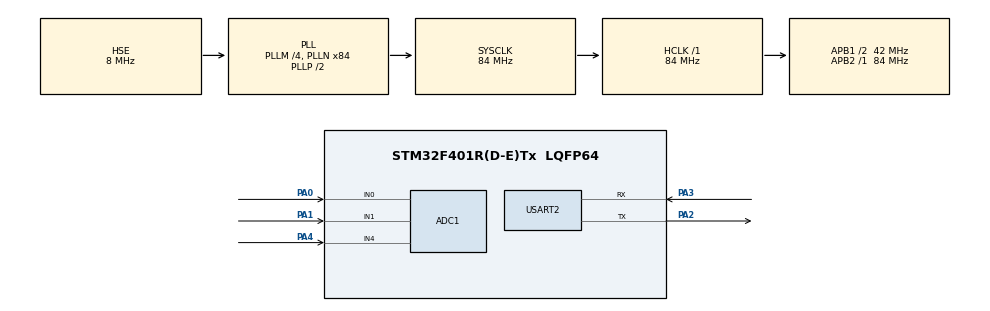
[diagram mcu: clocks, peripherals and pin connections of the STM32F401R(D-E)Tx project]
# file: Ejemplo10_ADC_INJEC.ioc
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ADC1.Channel-0\#ChannelRegularConversion=ADC_CHANNEL_0
ADC1.Channel-1\#ChannelInjectedConversion=ADC_CHANNEL_0
ADC1.Channel-2\#ChannelInjectedConversion=ADC_CHANNEL_1
ADC1.Channel-3\#ChannelInjectedConversion=ADC_CHANNEL_4
ADC1.InjNumberOfConversion=3
ADC1.InjectedOffset-1\#ChannelInjectedConversion=0
ADC1.InjectedOffset-2\#ChannelInjectedConversion=0
ADC1.InjectedOffset-3\#ChannelInjectedConversion=0
ADC1.InjectedRank-1\#ChannelInjectedConversion=1
ADC1.InjectedRank-2\#ChannelInjectedConversion=2
ADC1.InjectedRank-3\#ChannelInjectedConversion=3
ADC1.NbrOfConversionFlag=1
ADC1.Rank-0\#ChannelRegularConversion=1
ADC1.SamplingTime-0\#ChannelRegularConversion=ADC_SAMPLETIME_3CYCLES
ADC1.SamplingTime-1\#ChannelInjectedConversion=ADC_SAMPLETIME_3CYCLES
ADC1.SamplingTime-2\#ChannelInjectedConversion=ADC_SAMPLETIME_3CYCLES
ADC1.SamplingTime-3\#ChannelInjectedConversion=ADC_SAMPLETIME_3CYCLES
ADC1.master=1
Mcu.Family=STM32F4
Mcu.Name=STM32F401R(D-E)Tx
Mcu.Package=LQFP64
NVIC.ADC_IRQn=true\:0\:0\:false\:false\:true\:true\:true\:true
NVIC.PriorityGroup=NVIC_PRIORITYGROUP_4
PA0-WKUP.Signal=ADCx_IN0
PA1.Signal=ADCx_IN1
PA13.Mode=Serial_Wire
PA13.Signal=SYS_JTMS-SWDIO
PA14.Mode=Serial_Wire
PA14.Signal=SYS_JTCK-SWCLK
PA2.Mode=Asynchronous
PA2.Signal=USART2_TX
PA3.Mode=Asynchronous
PA3.Signal=USART2_RX
PA4.Signal=ADCx_IN4
PH0\ -\ OSC_IN.Mode=HSE-External-Clock-Source
PH0\ -\ OSC_IN.Signal=RCC_OSC_IN
PH1\ -\ OSC_OUT.Mode=HSE-External-Clock-Source
PH1\ -\ OSC_OUT.Signal=RCC_OSC_OUT
ProjectManager.HeapSize=0x200
ProjectManager.StackSize=0x400
ProjectManager.TargetToolchain=STM32CubeIDE
RCC.48MHZClocksFreq_Value=42000000
RCC.AHBFreq_Value=84000000
RCC.APB1CLKDivider=RCC_HCLK_DIV2
RCC.APB1Freq_Value=42000000
RCC.APB1TimFreq_Value=84000000
RCC.APB2Freq_Value=84000000
RCC.APB2TimFreq_Value=84000000
RCC.CortexFreq_Value=84000000
RCC.HCLKFreq_Value=84000000
RCC.HSE_VALUE=8000000
RCC.HSI_VALUE=16000000
RCC.LSE_VALUE=32768
RCC.PLLM=4
RCC.PLLN=84
RCC.PLLSourceVirtual=RCC_PLLSOURCE_HSE
RCC.SYSCLKFreq_VALUE=84000000
RCC.SYSCLKSource=RCC_SYSCLKSOURCE_PLLCLK
RCC.VCOOutputFreq_Value=168000000
SH.ADCx_IN0.0=ADC1_IN0,IN0
SH.ADCx_IN1.0=ADC1_IN1,IN1
SH.ADCx_IN4.0=ADC1_IN4,IN4
USART2.VirtualMode=VM_ASYNC
board=custom

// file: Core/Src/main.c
/* USER CODE BEGIN Header */
/**
  ******************************************************************************
  * @file           : main.c
  * @brief          : Main program body
  ******************************************************************************
  * @attention
  *
  * Copyright (c) 2023 STMicroelectronics.
  * All rights reserved.
  *
  * This software is licensed under terms that can be found in the LICENSE file
  * in the root directory of this software component.
  * If no LICENSE file comes with this software, it is provided AS-IS.
  *
  ******************************************************************************
  */
/* USER CODE END Header */
#include "main.h"

/* USER CODE BEGIN Includes */
#include "stdio.h"
#include "string.h"
/* USER CODE END Includes */

ADC_HandleTypeDef hadc1;

UART_HandleTypeDef huart2;

void SystemClock_Config(void);
static void MX_GPIO_Init(void);
static void MX_ADC1_Init(void);
static void MX_USART2_UART_Init(void);

/* USER CODE BEGIN 0 */
int __io_putchar(int ch){

	  HAL_UART_Transmit(&huart2, (const uint8_t *)&ch, (uint16_t)1, HAL_MAX_DELAY);

	  return ch;
}
uint32_t AnalogRead(uint32_t channel){

	   uint32_t ADC_VALUE;

	  ADC_ChannelConfTypeDef sConfig = {0};

	    sConfig.Channel = channel;
	    sConfig.Rank = 1;
	    sConfig.SamplingTime = ADC_SAMPLETIME_3CYCLES;
	    if (HAL_ADC_ConfigChannel(&hadc1, &sConfig) != HAL_OK)
	    {
	      Error_Handler();
	    }
	    HAL_ADC_Start(&hadc1);
	    if(HAL_ADC_PollForConversion(&hadc1, 1000000)==HAL_OK){

	    	ADC_VALUE = HAL_ADC_GetValue(&hadc1);
	    }
	    HAL_ADC_Stop(&hadc1);
	    return ADC_VALUE;
}
uint16_t adc[3];
/* USER CODE END 0 */

int main(void)
{

  /* MCU Configuration--------------------------------------------------------*/

  /* Reset of all peripherals, Initializes the Flash interface and the Systick. */
  HAL_Init();

  /* Configure the system clock */
  SystemClock_Config();

  /* Initialize all configured peripherals */
  MX_GPIO_Init();
  MX_ADC1_Init();
  MX_USART2_UART_Init();
  /* USER CODE BEGIN 2 */
  HAL_ADCEx_InjectedStart_IT(&hadc1);
  /* USER CODE END 2 */

  /* Infinite loop */
  /* USER CODE BEGIN WHILE */
  while (1)
  {
		 printf("ADC0->%u   ADC1->%u   ADC4->%u   \n\r",adc[0],adc[1],adc[2]);
		 HAL_Delay(500);
    /* USER CODE END WHILE */

  }
}

void SystemClock_Config(void)
{
  RCC_OscInitTypeDef RCC_OscInitStruct = {0};
  RCC_ClkInitTypeDef RCC_ClkInitStruct = {0};

  /** Configure the main internal regulator output voltage
  */
  __HAL_RCC_PWR_CLK_ENABLE();
  __HAL_PWR_VOLTAGESCALING_CONFIG(PWR_REGULATOR_VOLTAGE_SCALE2);

  /** Initializes the RCC Oscillators according to the specified parameters
  * in the RCC_OscInitTypeDef structure.
  */
  RCC_OscInitStruct.OscillatorType = RCC_OSCILLATORTYPE_HSE;
  RCC_OscInitStruct.HSEState = RCC_HSE_BYPASS;
  RCC_OscInitStruct.PLL.PLLState = RCC_PLL_ON;
  RCC_OscInitStruct.PLL.PLLSource = RCC_PLLSOURCE_HSE;
  RCC_OscInitStruct.PLL.PLLM = 4;
  RCC_OscInitStruct.PLL.PLLN = 84;
  RCC_OscInitStruct.PLL.PLLP = RCC_PLLP_DIV2;
  RCC_OscInitStruct.PLL.PLLQ = 4;
  if (HAL_RCC_OscConfig(&RCC_OscInitStruct) != HAL_OK)
  {
    Error_Handler();
  }

  /** Initializes the CPU, AHB and APB buses clocks
  */
  RCC_ClkInitStruct.ClockType = RCC_CLOCKTYPE_HCLK|RCC_CLOCKTYPE_SYSCLK
                              |RCC_CLOCKTYPE_PCLK1|RCC_CLOCKTYPE_PCLK2;
  RCC_ClkInitStruct.SYSCLKSource = RCC_SYSCLKSOURCE_PLLCLK;
  RCC_ClkInitStruct.AHBCLKDivider = RCC_SYSCLK_DIV1;
  RCC_ClkInitStruct.APB1CLKDivider = RCC_HCLK_DIV2;
  RCC_ClkInitStruct.APB2CLKDivider = RCC_HCLK_DIV1;

  if (HAL_RCC_ClockConfig(&RCC_ClkInitStruct, FLASH_LATENCY_2) != HAL_OK)
  {
    Error_Handler();
  }
}

static void MX_ADC1_Init(void)
{

  ADC_ChannelConfTypeDef sConfig = {0};
  ADC_InjectionConfTypeDef sConfigInjected = {0};

  /** Configure the global features of the ADC (Clock, Resolution, Data Alignment and number of conversion)
  */
  hadc1.Instance = ADC1;
  hadc1.Init.ClockPrescaler = ADC_CLOCK_SYNC_PCLK_DIV4;
  hadc1.Init.Resolution = ADC_RESOLUTION_12B;
  hadc1.Init.ScanConvMode = ENABLE;
  hadc1.Init.ContinuousConvMode = DISABLE;
  hadc1.Init.DiscontinuousConvMode = DISABLE;
  hadc1.Init.ExternalTrigConvEdge = ADC_EXTERNALTRIGCONVEDGE_NONE;
  hadc1.Init.ExternalTrigConv = ADC_SOFTWARE_START;
  hadc1.Init.DataAlign = ADC_DATAALIGN_RIGHT;
  hadc1.Init.NbrOfConversion = 1;
  hadc1.Init.DMAContinuousRequests = DISABLE;
  hadc1.Init.EOCSelection = ADC_EOC_SINGLE_CONV;
  if (HAL_ADC_Init(&hadc1) != HAL_OK)
  {
    Error_Handler();
  }

  /** Configure for the selected ADC regular channel its corresponding rank in the sequencer and its sample time.
  */
  sConfig.Channel = ADC_CHANNEL_0;
  sConfig.Rank = 1;
  sConfig.SamplingTime = ADC_SAMPLETIME_3CYCLES;
  if (HAL_ADC_ConfigChannel(&hadc1, &sConfig) != HAL_OK)
  {
    Error_Handler();
  }

  /** Configures for the selected ADC injected channel its corresponding rank in the sequencer and its sample time
  */
  sConfigInjected.InjectedChannel = ADC_CHANNEL_0;
  sConfigInjected.InjectedRank = 1;
  sConfigInjected.InjectedNbrOfConversion = 3;
  sConfigInjected.InjectedSamplingTime = ADC_SAMPLETIME_3CYCLES;
  sConfigInjected.ExternalTrigInjecConvEdge = ADC_EXTERNALTRIGINJECCONVEDGE_NONE;
  sConfigInjected.ExternalTrigInjecConv = ADC_INJECTED_SOFTWARE_START;
  sConfigInjected.AutoInjectedConv = DISABLE;
  sConfigInjected.InjectedDiscontinuousConvMode = DISABLE;
  sConfigInjected.InjectedOffset = 0;
  if (HAL_ADCEx_InjectedConfigChannel(&hadc1, &sConfigInjected) != HAL_OK)
  {
    Error_Handler();
  }

  /** Configures for the selected ADC injected channel its corresponding rank in the sequencer and its sample time
  */
  sConfigInjected.InjectedChannel = ADC_CHANNEL_1;
  sConfigInjected.InjectedRank = 2;
  if (HAL_ADCEx_InjectedConfigChannel(&hadc1, &sConfigInjected) != HAL_OK)
  {
    Error_Handler();
  }

  /** Configures for the selected ADC injected channel its corresponding rank in the sequencer and its sample time
  */
  sConfigInjected.InjectedChannel = ADC_CHANNEL_4;
  sConfigInjected.InjectedRank = 3;
  if (HAL_ADCEx_InjectedConfigChannel(&hadc1, &sConfigInjected) != HAL_OK)
  {
    Error_Handler();
  }

}

static void MX_USART2_UART_Init(void)
{

  huart2.Instance = USART2;
  huart2.Init.BaudRate = 115200;
  huart2.Init.WordLength = UART_WORDLENGTH_8B;
  huart2.Init.StopBits = UART_STOPBITS_1;
  huart2.Init.Parity = UART_PARITY_NONE;
  huart2.Init.Mode = UART_MODE_TX_RX;
  huart2.Init.HwFlowCtl = UART_HWCONTROL_NONE;
  huart2.Init.OverSampling = UART_OVERSAMPLING_16;
  if (HAL_UART_Init(&huart2) != HAL_OK)
  {
    Error_Handler();
  }

}

static void MX_GPIO_Init(void)
{

  /* GPIO Ports Clock Enable */
  __HAL_RCC_GPIOH_CLK_ENABLE();
  __HAL_RCC_GPIOA_CLK_ENABLE();

}

/* USER CODE BEGIN 4 */
void HAL_ADCEx_InjectedConvCpltCallback(ADC_HandleTypeDef* hadc){

	adc[0] = HAL_ADCEx_InjectedGetValue(&hadc1, ADC_INJECTED_RANK_1) ;
	adc[1] = HAL_ADCEx_InjectedGetValue(&hadc1, ADC_INJECTED_RANK_2);
	adc[2] = HAL_ADCEx_InjectedGetValue(&hadc1, ADC_INJECTED_RANK_3);
	HAL_ADCEx_InjectedStart_IT(&hadc1);
}
/* USER CODE END 4 */

void Error_Handler(void)
{
  __disable_irq();
  while (1)
  {
  }
}
